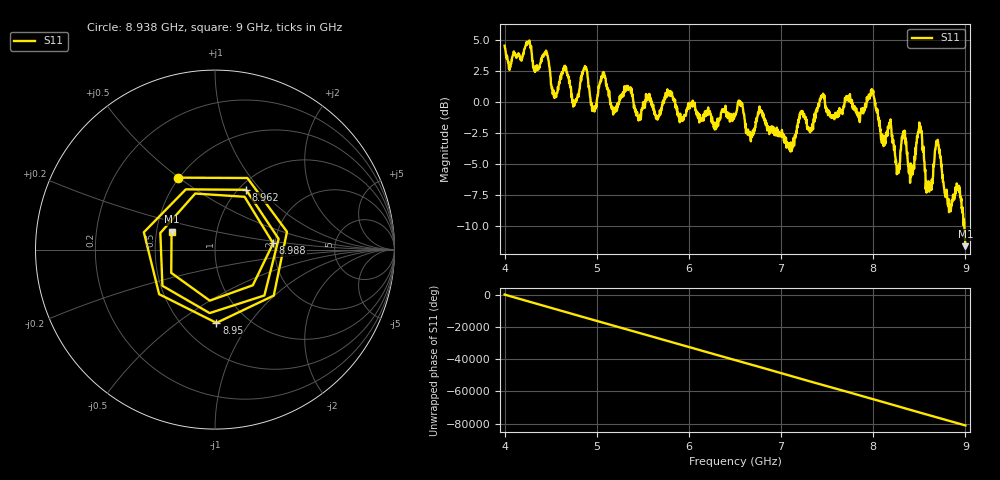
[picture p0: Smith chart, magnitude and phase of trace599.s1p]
! Created with skrf 1.8.0 (http://scikit-rf.org).
# Hz S RI R 50.0
!freq ReS11 ImS11
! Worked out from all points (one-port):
!   1601 points, 4 GHz to 9 GHz, reference 50 ohm
!   lowest |S11| = -11.6 dB at 9 GHz (marker M1), VSWR 1.71, Z = 30 + j6.43 ohm
!   |S11| at or under -10 dB: 8.988759 GHz to end of sweep
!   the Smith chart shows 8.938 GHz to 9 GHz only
!   S11 on the Smith chart (normalised r, x): 8.938 GHz: 0.49, +0.50; 8.95 GHz: 0.72, -0.71; 8.962 GHz: 1.08, +0.84; 8.988 GHz: 1.95, +0.15; 9 GHz: 0.60, +0.13
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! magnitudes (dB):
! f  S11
! 4 GHz  4.6
! 4.45 GHz  4.2
! 4.544 GHz  0.4
! 4.625 GHz  2.4
! 4.756 GHz  -0.3
! 4.872 GHz  2.9
! 4.962 GHz  -0.5
! 5.069 GHz  2.4
! 5.25 GHz  0.5
! 5.875 GHz  -0.9
! 6.5 GHz  -1.0
! 7.125 GHz  -3.5
! 7.444 GHz  0.5
! 7.75 GHz  0.4
! 7.991 GHz  0.9
! 8.262 GHz  -5.2
! 8.331 GHz  -2.5
! 8.375 GHz  -4.8
! 8.422 GHz  -5.2
! 8.506 GHz  -1.9
! 8.594 GHz  -7.1
! 8.697 GHz  -3.2
! 8.825 GHz  -8.9
! 8.938 GHz  -6.9
! 8.95 GHz  -7.8
! 8.962 GHz  -8.5
! 8.988 GHz  -9.7
! 9 GHz  -11.6
